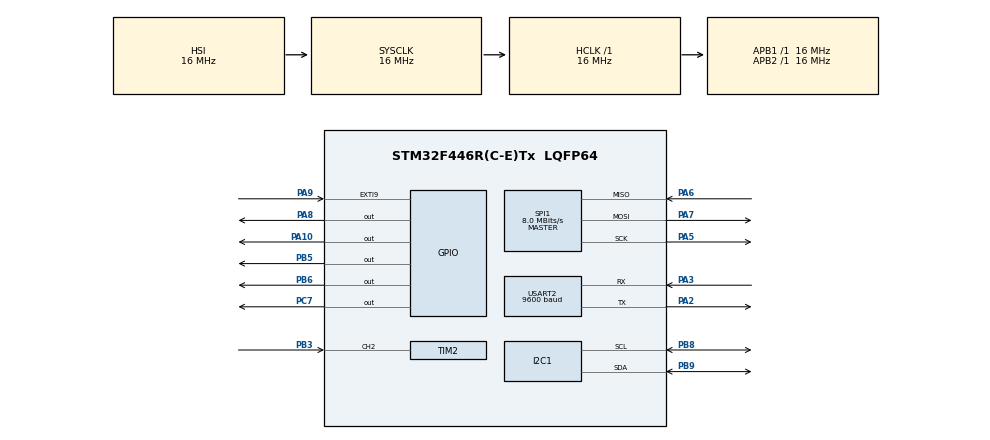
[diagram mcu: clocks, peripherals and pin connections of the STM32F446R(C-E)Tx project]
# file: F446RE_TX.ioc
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Mcu.Family=STM32F4
Mcu.Name=STM32F446R(C-E)Tx
Mcu.Package=LQFP64
NVIC.EXTI9_5_IRQn=true\:0\:0\:false\:false\:true\:true\:true\:true
NVIC.PriorityGroup=NVIC_PRIORITYGROUP_4
NVIC.TIM2_IRQn=true\:0\:0\:false\:false\:true\:true\:true\:true
PA10.Signal=GPIO_Output
PA2.Mode=Asynchronous
PA2.Signal=USART2_TX
PA3.Mode=Asynchronous
PA3.Signal=USART2_RX
PA5.Mode=Full_Duplex_Master
PA5.Signal=SPI1_SCK
PA6.Mode=Full_Duplex_Master
PA6.Signal=SPI1_MISO
PA7.Mode=Full_Duplex_Master
PA7.Signal=SPI1_MOSI
PA8.Signal=GPIO_Output
PA9.GPIO_ModeDefaultEXTI=GPIO_MODE_IT_FALLING
PA9.Signal=GPXTI9
PB10.Signal=I2C2_SCL
PB3.Signal=S_TIM2_CH2
PB5.Signal=GPIO_Output
PB6.Signal=GPIO_Output
PB8.Mode=I2C
PB8.Signal=I2C1_SCL
PB9.Mode=I2C
PB9.Signal=I2C1_SDA
PC7.Signal=GPIO_Output
ProjectManager.HeapSize=0x200
ProjectManager.StackSize=0x400
ProjectManager.TargetToolchain=STM32CubeIDE
RCC.AHBFreq_Value=16000000
RCC.APB1Freq_Value=16000000
RCC.APB1TimFreq_Value=16000000
RCC.APB2Freq_Value=16000000
RCC.APB2TimFreq_Value=16000000
RCC.CortexFreq_Value=16000000
RCC.HCLKFreq_Value=16000000
RCC.PLLN=128
RCC.SYSCLKFreq_VALUE=16000000
RCC.USBFreq_Value=64000000
RCC.VCOOutputFreq_Value=128000000
SH.S_TIM2_CH2.0=TIM2_CH2,Input_Capture2_from_TI2
SPI1.BaudRatePrescaler=SPI_BAUDRATEPRESCALER_2
SPI1.CalculateBaudRate=8.0 MBits/s
SPI1.Direction=SPI_DIRECTION_2LINES
SPI1.Mode=SPI_MODE_MASTER
SPI1.VirtualType=VM_MASTER
TIM1.Period=1600
TIM2.Channel-Input_Capture2_from_TI2=TIM_CHANNEL_2
TIM2.ICPolarity_CH2=TIM_INPUTCHANNELPOLARITY_BOTHEDGE
TIM2.Period=10000
TIM2.Prescaler=15
USART2.BaudRate=9600
USART2.VirtualMode=VM_ASYNC
VP_TIM1_VS_ClockSourceINT.Mode=Internal
VP_TIM2_VS_ClockSourceINT.Mode=Internal
board=custom

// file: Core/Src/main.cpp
/* USER CODE BEGIN Header */
/**
  ******************************************************************************
  * @file           : main.c
  * @brief          : Main program body
  ******************************************************************************
  * @attention
  *
  * Copyright (c) 2025 STMicroelectronics.
  * All rights reserved.
  *
  * This software is licensed under terms that can be found in the LICENSE file
  * in the root directory of this software component.
  * If no LICENSE file comes with this software, it is provided AS-IS.
  *
  ******************************************************************************
  */
/* USER CODE END Header */
#include "main.h"
#include "spi.h"
#include "tim.h"
#include "usart.h"
#include "gpio.h"
#include "i2c.h"

/* USER CODE BEGIN Includes */
#include <cstdio>
#include <stdio.h>
#include "nrf2401.hpp"
#include "hcsr04.hpp"
#include "rtc.hpp"

/* USER CODE END Includes */

void SystemClock_Config(void);

int main(void)
{

  /* MCU Configuration--------------------------------------------------------*/

  /* Reset of all peripherals, Initializes the Flash interface and the Systick. */
  HAL_Init();

  /* Configure the system clock */
  SystemClock_Config();

  /* Initialize all configured peripherals */
  MX_GPIO_Init();
  MX_SPI1_Init();
  MX_TIM1_Init();
  MX_USART2_UART_Init();
  MX_TIM2_Init();
  MX_I2C1_Init();
  /* USER CODE BEGIN 2 */
//
  HAL_TIM_Base_Start(&htim1);
  HAL_TIM_IC_Start_IT(&htim2, TIM_CHANNEL_2);

  uint8_t tx_addr[5] = {0x34, 0x35, 0xF0, 0xD3, 0xE4};
  rf_module.nrf_init(2500, MBPS_ONE, FIVE_BYTES);
  rf_module.setup_tx_mode(tx_addr, 5);

  uint8_t motion_data[5] = {0, 0, 0, 0, 0};

  uint16_t distance_cm = 0;
  uint8_t seconds = 0;
  uint8_t minutes = 0;
  uint8_t hours = 0;
//
  Time_RTC rtc_sensor_time{&hi2c1, true, 25, 18, 6, TUESDAY, 13, MAY, 25};
  rtc_sensor_time.rtc_init();

  uint8_t tx_ds_irq = (1 << 5);
  uint8_t max_rt_irq = (1 << 4);
  uint8_t status_register_byte = 0;
  /* USER CODE END 2 */

  /* Infinite loop */
  /* USER CODE BEGIN WHILE */
  while (1)
  {

	  if (tx_interrupt) {
		  rf_module.read_register(status_reg, &status_register_byte, 1);
		  if (status_register_byte & tx_ds_irq) {
			  status_register_byte |= tx_ds_irq; //TX_DS clear
		  } else if (status_register_byte & max_rt_irq) {
			  status_register_byte |= max_rt_irq;
		  }

		  rf_module.write_register(status_reg, &status_register_byte, 1);
		  tx_interrupt = 0;
	  }

	  //TODO: Clean up main, use a more interrupt driven model for nrf2401 and make use of FREERTOS??
	  distance_sensor.send_trig_pulse();
	  HAL_Delay(60);
	  distance_cm = distance_sensor.getDistance(g_dist_capt_params);

	  rtc_sensor_time.rtc_get_time_unit(SECONDS, seconds);
	  rtc_sensor_time.rtc_get_time_unit(MINUTES, minutes);
	  rtc_sensor_time.rtc_get_time_unit(HOURS, hours);

	  motion_data[0] = seconds;
	  motion_data[1] = minutes;
	  motion_data[2] = hours;
	  //send the uint16_t distance in two bytes: The lower and upper byte.
	  motion_data[3] = (distance_cm & 0x00FF);			//lower byte
	  motion_data[4] = (distance_cm & 0xFF00) >> 8;		//upper byte.
	  rf_module.send_data_tx_to_fifo(motion_data, 5);

	  HAL_Delay(100);

    /* USER CODE END WHILE */

  }
}

void SystemClock_Config(void)
{
  RCC_OscInitTypeDef RCC_OscInitStruct = {0};
  RCC_ClkInitTypeDef RCC_ClkInitStruct = {0};

  /** Configure the main internal regulator output voltage
  */
  __HAL_RCC_PWR_CLK_ENABLE();
  __HAL_PWR_VOLTAGESCALING_CONFIG(PWR_REGULATOR_VOLTAGE_SCALE3);

  /** Initializes the RCC Oscillators according to the specified parameters
  * in the RCC_OscInitTypeDef structure.
  */
  RCC_OscInitStruct.OscillatorType = RCC_OSCILLATORTYPE_HSI;
  RCC_OscInitStruct.HSIState = RCC_HSI_ON;
  RCC_OscInitStruct.HSICalibrationValue = RCC_HSICALIBRATION_DEFAULT;
  RCC_OscInitStruct.PLL.PLLState = RCC_PLL_NONE;
  if (HAL_RCC_OscConfig(&RCC_OscInitStruct) != HAL_OK)
  {
    Error_Handler();
  }

  /** Initializes the CPU, AHB and APB buses clocks
  */
  RCC_ClkInitStruct.ClockType = RCC_CLOCKTYPE_HCLK|RCC_CLOCKTYPE_SYSCLK
                              |RCC_CLOCKTYPE_PCLK1|RCC_CLOCKTYPE_PCLK2;
  RCC_ClkInitStruct.SYSCLKSource = RCC_SYSCLKSOURCE_HSI;
  RCC_ClkInitStruct.AHBCLKDivider = RCC_SYSCLK_DIV1;
  RCC_ClkInitStruct.APB1CLKDivider = RCC_HCLK_DIV1;
  RCC_ClkInitStruct.APB2CLKDivider = RCC_HCLK_DIV1;

  if (HAL_RCC_ClockConfig(&RCC_ClkInitStruct, FLASH_LATENCY_0) != HAL_OK)
  {
    Error_Handler();
  }
}

void Error_Handler(void)
{
  __disable_irq();
  while (1)
  {
  }
}
